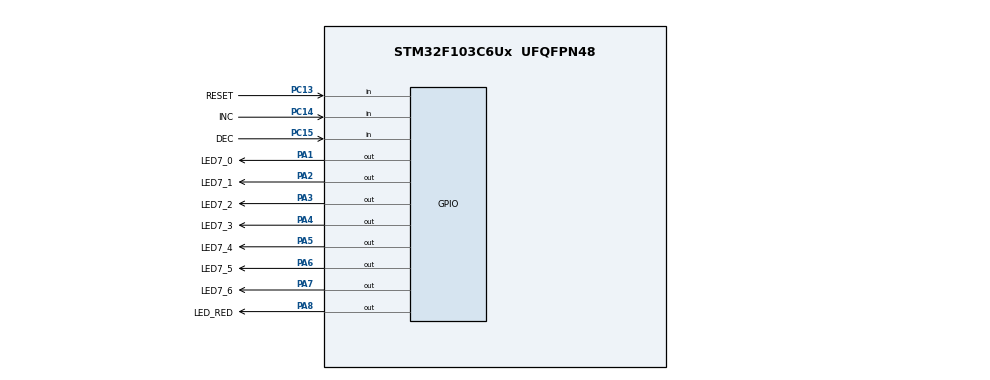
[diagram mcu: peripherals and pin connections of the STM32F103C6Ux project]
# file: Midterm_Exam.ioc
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Mcu.Family=STM32F1
Mcu.Name=STM32F103C6Ux
Mcu.Package=UFQFPN48
NVIC.PriorityGroup=NVIC_PRIORITYGROUP_4
NVIC.TIM2_IRQn=true\:0\:0\:false\:false\:true\:true\:true\:true
NVIC.TIM3_IRQn=true\:0\:0\:false\:false\:true\:true\:true\:true
PA1.GPIO_Label=LED7_0
PA1.Signal=GPIO_Output
PA2.GPIO_Label=LED7_1
PA2.Signal=GPIO_Output
PA3.GPIO_Label=LED7_2
PA3.Signal=GPIO_Output
PA4.GPIO_Label=LED7_3
PA4.Signal=GPIO_Output
PA5.GPIO_Label=LED7_4
PA5.Signal=GPIO_Output
PA6.GPIO_Label=LED7_5
PA6.Signal=GPIO_Output
PA7.GPIO_Label=LED7_6
PA7.Signal=GPIO_Output
PA8.GPIO_Label=LED_RED
PA8.Signal=GPIO_Output
PC13-TAMPER-RTC.GPIO_Label=RESET
PC13-TAMPER-RTC.GPIO_PuPd=GPIO_PULLUP
PC13-TAMPER-RTC.Signal=GPIO_Input
PC14-OSC32_IN.GPIO_Label=INC
PC14-OSC32_IN.GPIO_PuPd=GPIO_PULLUP
PC14-OSC32_IN.Signal=GPIO_Input
PC15-OSC32_OUT.GPIO_Label=DEC
PC15-OSC32_OUT.GPIO_PuPd=GPIO_PULLUP
PC15-OSC32_OUT.Signal=GPIO_Input
ProjectManager.HeapSize=0x200
ProjectManager.StackSize=0x400
ProjectManager.TargetToolchain=STM32CubeIDE
RCC.APB1Freq_Value=8000000
RCC.APB2Freq_Value=8000000
TIM2.Period=9
TIM2.Prescaler=7999
TIM3.Period=9
TIM3.Prescaler=7999
VP_TIM2_VS_ClockSourceINT.Mode=Internal
VP_TIM3_VS_ClockSourceINT.Mode=Internal
board=custom

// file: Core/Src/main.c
/* USER CODE BEGIN Header */
/**
  ******************************************************************************
  * @file           : main.c
  * @brief          : Main program body
  ******************************************************************************
  * @attention
  *
  * Copyright (c) 2022 STMicroelectronics.
  * All rights reserved.
  *
  * This software is licensed under terms that can be found in the LICENSE file
  * in the root directory of this software component.
  * If no LICENSE file comes with this software, it is provided AS-IS.
  *
  ******************************************************************************
  */
/* USER CODE END Header */
#include "main.h"

/* USER CODE BEGIN Includes */
#include "software_timer.h"
#include "button.h"
#include "display7SEG.h"
#include "fsm_simple_buttons_run.h"
#include "LedBlinky.h"
#include "fsm_automatic_buttons_run.h"
#include "fsm_longpress_buttons_run.h"
#include "global.h"
/* USER CODE END Includes */

TIM_HandleTypeDef htim2;
TIM_HandleTypeDef htim3;

void SystemClock_Config(void);
static void MX_GPIO_Init(void);
static void MX_TIM2_Init(void);
static void MX_TIM3_Init(void);

int main(void)
{

  /* MCU Configuration--------------------------------------------------------*/

  /* Reset of all peripherals, Initializes the Flash interface and the Systick. */
  HAL_Init();

  /* Configure the system clock */
  SystemClock_Config();

  /* Initialize all configured peripherals */
  MX_GPIO_Init();
  MX_TIM2_Init();
  MX_TIM3_Init();
  /* USER CODE BEGIN 2 */
  HAL_TIM_Base_Start_IT(&htim2);
  /* USER CODE END 2 */

  /* Infinite loop */
  /* USER CODE BEGIN WHILE */
status = INIT;
ledstatus = LED_INIT;
  while (1)
  {
	  fsm_automatic_buttons_run();
	  fsm_simple_buttons_run();
	  fsm_longpress_buttons_run();
	  fsm_ledBlinky_run ();
    /* USER CODE END WHILE */

  }
}

void SystemClock_Config(void)
{
  RCC_OscInitTypeDef RCC_OscInitStruct = {0};
  RCC_ClkInitTypeDef RCC_ClkInitStruct = {0};

  /** Initializes the RCC Oscillators according to the specified parameters
  * in the RCC_OscInitTypeDef structure.
  */
  RCC_OscInitStruct.OscillatorType = RCC_OSCILLATORTYPE_HSI;
  RCC_OscInitStruct.HSIState = RCC_HSI_ON;
  RCC_OscInitStruct.HSICalibrationValue = RCC_HSICALIBRATION_DEFAULT;
  RCC_OscInitStruct.PLL.PLLState = RCC_PLL_NONE;
  if (HAL_RCC_OscConfig(&RCC_OscInitStruct) != HAL_OK)
  {
    Error_Handler();
  }

  /** Initializes the CPU, AHB and APB buses clocks
  */
  RCC_ClkInitStruct.ClockType = RCC_CLOCKTYPE_HCLK|RCC_CLOCKTYPE_SYSCLK
                              |RCC_CLOCKTYPE_PCLK1|RCC_CLOCKTYPE_PCLK2;
  RCC_ClkInitStruct.SYSCLKSource = RCC_SYSCLKSOURCE_HSI;
  RCC_ClkInitStruct.AHBCLKDivider = RCC_SYSCLK_DIV1;
  RCC_ClkInitStruct.APB1CLKDivider = RCC_HCLK_DIV1;
  RCC_ClkInitStruct.APB2CLKDivider = RCC_HCLK_DIV1;

  if (HAL_RCC_ClockConfig(&RCC_ClkInitStruct, FLASH_LATENCY_0) != HAL_OK)
  {
    Error_Handler();
  }
}

static void MX_TIM2_Init(void)
{

  TIM_ClockConfigTypeDef sClockSourceConfig = {0};
  TIM_MasterConfigTypeDef sMasterConfig = {0};

  htim2.Instance = TIM2;
  htim2.Init.Prescaler = 7999;
  htim2.Init.CounterMode = TIM_COUNTERMODE_UP;
  htim2.Init.Period = 9;
  htim2.Init.ClockDivision = TIM_CLOCKDIVISION_DIV1;
  htim2.Init.AutoReloadPreload = TIM_AUTORELOAD_PRELOAD_DISABLE;
  if (HAL_TIM_Base_Init(&htim2) != HAL_OK)
  {
    Error_Handler();
  }
  sClockSourceConfig.ClockSource = TIM_CLOCKSOURCE_INTERNAL;
  if (HAL_TIM_ConfigClockSource(&htim2, &sClockSourceConfig) != HAL_OK)
  {
    Error_Handler();
  }
  sMasterConfig.MasterOutputTrigger = TIM_TRGO_RESET;
  sMasterConfig.MasterSlaveMode = TIM_MASTERSLAVEMODE_DISABLE;
  if (HAL_TIMEx_MasterConfigSynchronization(&htim2, &sMasterConfig) != HAL_OK)
  {
    Error_Handler();
  }

}

static void MX_TIM3_Init(void)
{

  TIM_ClockConfigTypeDef sClockSourceConfig = {0};
  TIM_MasterConfigTypeDef sMasterConfig = {0};

  htim3.Instance = TIM3;
  htim3.Init.Prescaler = 7999;
  htim3.Init.CounterMode = TIM_COUNTERMODE_UP;
  htim3.Init.Period = 9;
  htim3.Init.ClockDivision = TIM_CLOCKDIVISION_DIV1;
  htim3.Init.AutoReloadPreload = TIM_AUTORELOAD_PRELOAD_DISABLE;
  if (HAL_TIM_Base_Init(&htim3) != HAL_OK)
  {
    Error_Handler();
  }
  sClockSourceConfig.ClockSource = TIM_CLOCKSOURCE_INTERNAL;
  if (HAL_TIM_ConfigClockSource(&htim3, &sClockSourceConfig) != HAL_OK)
  {
    Error_Handler();
  }
  sMasterConfig.MasterOutputTrigger = TIM_TRGO_RESET;
  sMasterConfig.MasterSlaveMode = TIM_MASTERSLAVEMODE_DISABLE;
  if (HAL_TIMEx_MasterConfigSynchronization(&htim3, &sMasterConfig) != HAL_OK)
  {
    Error_Handler();
  }

}

static void MX_GPIO_Init(void)
{
  GPIO_InitTypeDef GPIO_InitStruct = {0};

  /* GPIO Ports Clock Enable */
  __HAL_RCC_GPIOC_CLK_ENABLE();
  __HAL_RCC_GPIOA_CLK_ENABLE();

  /*Configure GPIO pin Output Level */
  HAL_GPIO_WritePin(GPIOA, LED7_0_Pin|LED7_1_Pin|LED7_2_Pin|LED7_3_Pin
                          |LED7_4_Pin|LED7_5_Pin|LED7_6_Pin|LED_RED_Pin, GPIO_PIN_RESET);

  /*Configure GPIO pins : RESET_Pin INC_Pin DEC_Pin */
  GPIO_InitStruct.Pin = RESET_Pin|INC_Pin|DEC_Pin;
  GPIO_InitStruct.Mode = GPIO_MODE_INPUT;
  GPIO_InitStruct.Pull = GPIO_PULLUP;
  HAL_GPIO_Init(GPIOC, &GPIO_InitStruct);

  /*Configure GPIO pins : LED7_0_Pin LED7_1_Pin LED7_2_Pin LED7_3_Pin
                           LED7_4_Pin LED7_5_Pin LED7_6_Pin LED_RED_Pin */
  GPIO_InitStruct.Pin = LED7_0_Pin|LED7_1_Pin|LED7_2_Pin|LED7_3_Pin
                          |LED7_4_Pin|LED7_5_Pin|LED7_6_Pin|LED_RED_Pin;
  GPIO_InitStruct.Mode = GPIO_MODE_OUTPUT_PP;
  GPIO_InitStruct.Pull = GPIO_NOPULL;
  GPIO_InitStruct.Speed = GPIO_SPEED_FREQ_LOW;
  HAL_GPIO_Init(GPIOA, &GPIO_InitStruct);

}

/* USER CODE BEGIN 4 */
void HAL_TIM_PeriodElapsedCallback(TIM_HandleTypeDef *htim){
	timerRun();
	getKeyInput();
	getKeyInput1();
	getKeyInput2();
}
/* USER CODE END 4 */

void Error_Handler(void)
{
  __disable_irq();
  while (1)
  {
  }
}
